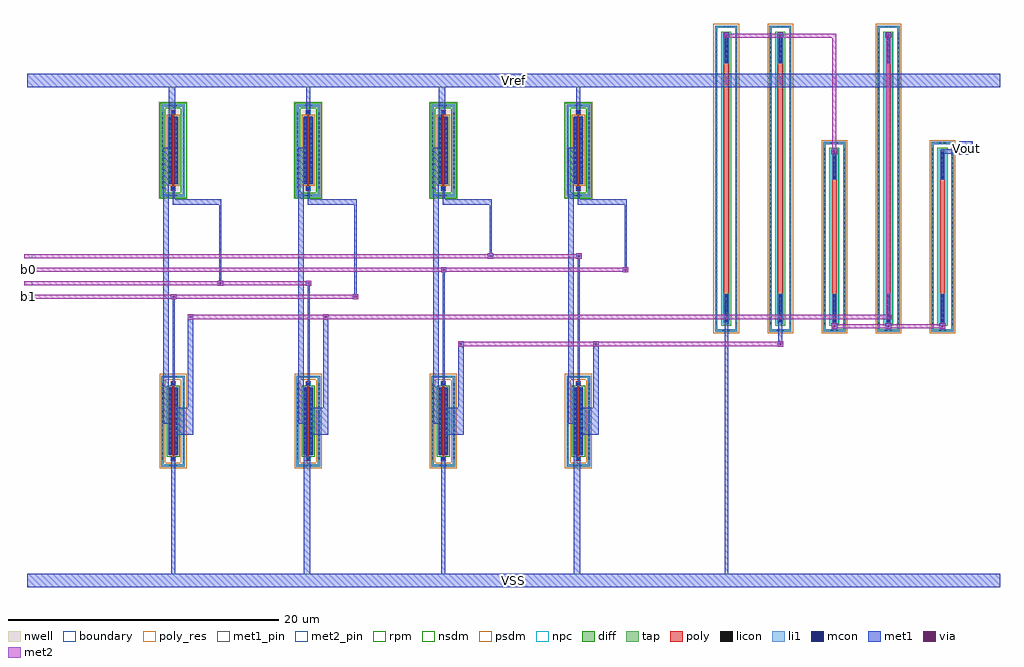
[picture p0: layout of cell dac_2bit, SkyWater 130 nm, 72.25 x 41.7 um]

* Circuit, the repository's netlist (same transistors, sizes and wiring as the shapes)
* NGSPICE file created from dac_2bit.ext - technology: sky130A

.subckt sky130_fd_pr__res_high_po_0p35_S5RWJ9 B R1 R2
X0 R1 R2 B sky130_fd_pr__res_high_po_0p35 l=17.2
.ends

.subckt sky130_fd_pr__pfet_01v8_N5VJYY B D S G
X0 S G D B sky130_fd_pr__pfet_01v8 ad=1.45 pd=10.58 as=1.45 ps=10.58 w=5 l=0.15
.ends

.subckt sky130_fd_pr__nfet_01v8_HYREKM B D S G
X0 S G D B sky130_fd_pr__nfet_01v8 ad=1.45 pd=10.58 as=1.45 ps=10.58 w=5 l=0.15
.ends

.subckt sky130_fd_pr__res_high_po_0p35_N4AVSQ B R1 R2
X0 R1 R2 B sky130_fd_pr__res_high_po_0p35 l=8.6
.ends

.subckt dac_2bit Vout b1
Xsky130_fd_pr__res_high_po_0p35_S5RWJ9_0 VSUBS sky130_fd_pr__res_high_po_0p35_S5RWJ9_1/R1
+ b1 sky130_fd_pr__res_high_po_0p35_S5RWJ9
Xsky130_fd_pr__res_high_po_0p35_S5RWJ9_1 VSUBS sky130_fd_pr__res_high_po_0p35_S5RWJ9_1/R1
+ sky130_fd_pr__nfet_01v8_HYREKM_3/S sky130_fd_pr__res_high_po_0p35_S5RWJ9
Xsky130_fd_pr__res_high_po_0p35_S5RWJ9_2 VSUBS sky130_fd_pr__nfet_01v8_HYREKM_1/S
+ sky130_fd_pr__res_high_po_0p35_S5RWJ9_2/R2 sky130_fd_pr__res_high_po_0p35_S5RWJ9
Xsky130_fd_pr__pfet_01v8_N5VJYY_0 sky130_fd_pr__pfet_01v8_N5VJYY_0/B b1 sky130_fd_pr__pfet_01v8_N5VJYY_0/S
+ b1 sky130_fd_pr__pfet_01v8_N5VJYY
Xsky130_fd_pr__pfet_01v8_N5VJYY_1 sky130_fd_pr__pfet_01v8_N5VJYY_1/B b1 sky130_fd_pr__pfet_01v8_N5VJYY_1/S
+ b1 sky130_fd_pr__pfet_01v8_N5VJYY
Xsky130_fd_pr__pfet_01v8_N5VJYY_2 sky130_fd_pr__pfet_01v8_N5VJYY_2/B b1 sky130_fd_pr__pfet_01v8_N5VJYY_2/S
+ b1 sky130_fd_pr__pfet_01v8_N5VJYY
Xsky130_fd_pr__pfet_01v8_N5VJYY_3 sky130_fd_pr__pfet_01v8_N5VJYY_3/B b1 sky130_fd_pr__pfet_01v8_N5VJYY_3/S
+ b1 sky130_fd_pr__pfet_01v8_N5VJYY
Xsky130_fd_pr__nfet_01v8_HYREKM_0 VSUBS b1 sky130_fd_pr__nfet_01v8_HYREKM_1/S b1 sky130_fd_pr__nfet_01v8_HYREKM
Xsky130_fd_pr__nfet_01v8_HYREKM_1 VSUBS b1 sky130_fd_pr__nfet_01v8_HYREKM_1/S b1 sky130_fd_pr__nfet_01v8_HYREKM
Xsky130_fd_pr__nfet_01v8_HYREKM_3 VSUBS b1 sky130_fd_pr__nfet_01v8_HYREKM_3/S b1 sky130_fd_pr__nfet_01v8_HYREKM
Xsky130_fd_pr__nfet_01v8_HYREKM_2 VSUBS b1 sky130_fd_pr__nfet_01v8_HYREKM_3/S b1 sky130_fd_pr__nfet_01v8_HYREKM
Xsky130_fd_pr__res_high_po_0p35_N4AVSQ_0 VSUBS sky130_fd_pr__res_high_po_0p35_S5RWJ9_1/R1
+ sky130_fd_pr__res_high_po_0p35_S5RWJ9_2/R2 sky130_fd_pr__res_high_po_0p35_N4AVSQ
Xsky130_fd_pr__res_high_po_0p35_N4AVSQ_1 VSUBS Vout sky130_fd_pr__res_high_po_0p35_S5RWJ9_2/R2
+ sky130_fd_pr__res_high_po_0p35_N4AVSQ
.ends

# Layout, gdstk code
import gdstk
lib = gdstk.Library(unit=1e-6, precision=1e-09)
def R(c, l, rs):  # rectangles x0, y0, x1, y1
    for r in rs: c.add(gdstk.rectangle(r[:2], r[2:], *l))
def A(c, l, x, y, w, h, nx, ny, dx, dy):  # array of equal rectangles
    R(c, l, [(x+i*dx, y+j*dy, x+i*dx+w, y+j*dy+h) for i in range(nx) for j in range(ny)])
nwell = (64, 20)
diff = (65, 20)
tap = (65, 44)
poly_res = (66, 13)
poly = (66, 20)
licon = (66, 44)
li1 = (67, 20)
mcon = (67, 44)
met1_pin = (68, 16)
met1 = (68, 20)
via = (68, 44)
met2_pin = (69, 16)
met2 = (69, 20)
rpm = (86, 20)
nsdm = (93, 44)
psdm = (94, 20)
npc = (95, 20)
boundary = (235, 4)

sky130_fd_pr__nfet_01v8_ = lib.new_cell('sky130_fd_pr__nfet_01v8_HYREKM')
R(sky130_fd_pr__nfet_01v8_, diff, [(-0.365,-2.5,0.365,2.5)])
R(sky130_fd_pr__nfet_01v8_, tap, [(-0.875,-3.37,0.875,-3.2), (-0.875,-3.2,-0.705,3.2), (0.705,-3.2,0.875,3.2), (-0.875,3.2,0.875,3.37)])
R(sky130_fd_pr__nfet_01v8_, poly, [(-0.165,-2.94,0.165,-2.61), (-0.075,-2.61,0.075,2.61), (-0.165,2.61,0.165,2.94)])
A(sky130_fd_pr__nfet_01v8_, licon, -0.875, -2.805, 0.17, 0.17, 1, 17, 0, 0.34)
A(sky130_fd_pr__nfet_01v8_, licon, 0.705, -2.805, 0.17, 0.17, 1, 17, 0, 0.34)
A(sky130_fd_pr__nfet_01v8_, licon, -0.305, -2.295, 0.17, 0.17, 1, 14, 0, 0.34)
A(sky130_fd_pr__nfet_01v8_, licon, 0.135, -2.295, 0.17, 0.17, 1, 14, 0, 0.34)
R(sky130_fd_pr__nfet_01v8_, licon, [(-0.255,-3.37,-0.085,-3.2), (0.085,-3.37,0.255,-3.2), (-0.085,-2.86,0.085,-2.69), (-0.085,2.69,0.085,2.86), (-0.255,3.2,-0.085,3.37), (0.085,3.2,0.255,3.37)])
R(sky130_fd_pr__nfet_01v8_, li1, [(-0.875,-3.37,0.875,-3.2), (-0.875,-3.2,-0.705,3.2), (0.705,-3.2,0.875,3.2), (-0.165,-2.86,0.165,-2.69), (-0.305,-2.52,-0.135,2.52), (0.135,-2.52,0.305,2.52), (-0.165,2.69,0.165,2.86), (-0.875,3.2,0.875,3.37)])
A(sky130_fd_pr__nfet_01v8_, mcon, -0.305, -2.425, 0.17, 0.17, 1, 14, 0, 0.36)
A(sky130_fd_pr__nfet_01v8_, mcon, 0.135, -2.425, 0.17, 0.17, 1, 14, 0, 0.36)
R(sky130_fd_pr__nfet_01v8_, mcon, [(-0.085,-2.86,0.085,-2.69), (-0.085,2.69,0.085,2.86)])
R(sky130_fd_pr__nfet_01v8_, met1, [(-0.145,-2.89,0.145,-2.66), (-0.335,-2.5,-0.105,2.5), (0.105,-2.5,0.335,2.5), (-0.145,2.66,0.145,2.89)])
R(sky130_fd_pr__nfet_01v8_, nsdm, [(-0.49,-2.625,0.49,2.625)])
R(sky130_fd_pr__nfet_01v8_, psdm, [(-1,-3.495,1,-3.075), (-1,-3.075,-0.58,3.075), (0.58,-3.075,1,3.075), (-1,3.075,1,3.495)])
R(sky130_fd_pr__nfet_01v8_, npc, [(-0.185,-2.96,0.185,-2.59), (-0.185,2.59,0.185,2.96)])
R(sky130_fd_pr__nfet_01v8_, boundary, [(-0.79,-3.285,0.79,3.285)])
sky130_fd_pr__nfet_01v8_.add(gdstk.Label('B', (0,-3.285), layer=67, texttype=5))
sky130_fd_pr__nfet_01v8_.add(gdstk.Label('D', (-0.22,0), layer=67, texttype=5))
sky130_fd_pr__nfet_01v8_.add(gdstk.Label('S', (0.22,0), layer=67, texttype=5))
sky130_fd_pr__nfet_01v8_.add(gdstk.Label('G', (0,2.775), layer=67, texttype=5))

sky130_fd_pr__pfet_01v8_ = lib.new_cell('sky130_fd_pr__pfet_01v8_N5VJYY')
R(sky130_fd_pr__pfet_01v8_, nwell, [(-1.055,-3.595,1.055,3.595)])
R(sky130_fd_pr__pfet_01v8_, diff, [(-0.365,-2.5,0.365,2.5)])
R(sky130_fd_pr__pfet_01v8_, tap, [(-0.875,-3.415,0.875,-3.245), (-0.875,-3.245,-0.705,3.245), (0.705,-3.245,0.875,3.245), (-0.875,3.245,0.875,3.415)])
R(sky130_fd_pr__pfet_01v8_, poly, [(-0.165,-2.985,0.165,-2.655), (-0.075,-2.655,0.075,2.655), (-0.165,2.655,0.165,2.985)])
A(sky130_fd_pr__pfet_01v8_, licon, -0.875, -2.805, 0.17, 0.17, 1, 17, 0, 0.34)
A(sky130_fd_pr__pfet_01v8_, licon, 0.705, -2.805, 0.17, 0.17, 1, 17, 0, 0.34)
A(sky130_fd_pr__pfet_01v8_, licon, -0.305, -2.295, 0.17, 0.17, 1, 14, 0, 0.34)
A(sky130_fd_pr__pfet_01v8_, licon, 0.135, -2.295, 0.17, 0.17, 1, 14, 0, 0.34)
R(sky130_fd_pr__pfet_01v8_, licon, [(-0.255,-3.415,-0.085,-3.245), (0.085,-3.415,0.255,-3.245), (-0.085,-2.905,0.085,-2.735), (-0.085,2.735,0.085,2.905), (-0.255,3.245,-0.085,3.415), (0.085,3.245,0.255,3.415)])
R(sky130_fd_pr__pfet_01v8_, li1, [(-0.875,-3.415,0.875,-3.245), (-0.875,-3.245,-0.705,3.245), (0.705,-3.245,0.875,3.245), (-0.165,-2.905,0.165,-2.735), (-0.305,-2.52,-0.135,2.52), (0.135,-2.52,0.305,2.52), (-0.165,2.735,0.165,2.905), (-0.875,3.245,0.875,3.415)])
A(sky130_fd_pr__pfet_01v8_, mcon, -0.305, -2.425, 0.17, 0.17, 1, 14, 0, 0.36)
A(sky130_fd_pr__pfet_01v8_, mcon, 0.135, -2.425, 0.17, 0.17, 1, 14, 0, 0.36)
R(sky130_fd_pr__pfet_01v8_, mcon, [(-0.085,-2.905,0.085,-2.735), (-0.085,2.735,0.085,2.905)])
R(sky130_fd_pr__pfet_01v8_, met1, [(-0.145,-2.935,0.145,-2.705), (-0.335,-2.5,-0.105,2.5), (0.105,-2.5,0.335,2.5), (-0.145,2.705,0.145,2.935)])
R(sky130_fd_pr__pfet_01v8_, nsdm, [(-1,-3.54,1,-3.12), (-1,-3.12,-0.58,3.12), (0.58,-3.12,1,3.12), (-1,3.12,1,3.54)])
R(sky130_fd_pr__pfet_01v8_, psdm, [(-0.49,-2.625,0.49,2.625)])
R(sky130_fd_pr__pfet_01v8_, npc, [(-0.185,-3.005,0.185,-2.635), (-0.185,2.635,0.185,3.005)])
R(sky130_fd_pr__pfet_01v8_, boundary, [(-0.79,-3.33,0.79,3.33)])
sky130_fd_pr__pfet_01v8_.add(gdstk.Label('B', (0,-3.33), layer=67, texttype=5))
sky130_fd_pr__pfet_01v8_.add(gdstk.Label('D', (-0.22,0), layer=67, texttype=5))
sky130_fd_pr__pfet_01v8_.add(gdstk.Label('S', (0.22,0), layer=67, texttype=5))
sky130_fd_pr__pfet_01v8_.add(gdstk.Label('G', (0,2.82), layer=67, texttype=5))

sky130_fd_pr__res_high_p = lib.new_cell('sky130_fd_pr__res_high_po_0p35_S5RWJ9')
R(sky130_fd_pr__res_high_p, tap, [(-0.825,-11.33,0.825,-11.16), (-0.825,-11.16,-0.655,11.16), (0.655,-11.16,0.825,11.16), (-0.825,11.16,0.825,11.33)])
R(sky130_fd_pr__res_high_p, poly_res, [(-0.175,-8.6,0.175,8.6)])
R(sky130_fd_pr__res_high_p, poly, [(-0.175,-10.68,0.175,10.68)])
A(sky130_fd_pr__res_high_p, licon, -0.825, -10.795, 0.17, 0.17, 1, 64, 0, 0.34)
A(sky130_fd_pr__res_high_p, licon, 0.655, -10.795, 0.17, 0.17, 1, 64, 0, 0.34)
R(sky130_fd_pr__res_high_p, licon, [(-0.255,-11.33,-0.085,-11.16), (0.085,-11.33,0.255,-11.16), (-0.095,-10.6,0.095,-8.6), (-0.095,8.6,0.095,10.6), (-0.255,11.16,-0.085,11.33), (0.085,11.16,0.255,11.33)])
R(sky130_fd_pr__res_high_p, li1, [(-0.825,-11.33,0.825,-11.16), (-0.825,-11.16,-0.655,11.16), (0.655,-11.16,0.825,11.16), (-0.175,-10.68,0.175,-8.52), (-0.175,8.52,0.175,10.68), (-0.825,11.16,0.825,11.33)])
A(sky130_fd_pr__res_high_p, mcon, -0.085, -10.585, 0.17, 0.17, 1, 6, 0, 0.36)
A(sky130_fd_pr__res_high_p, mcon, -0.085, 8.61, 0.17, 0.17, 1, 6, 0, 0.36)
R(sky130_fd_pr__res_high_p, met1, [(-0.125,-10.65,0.125,-8.545), (-0.125,8.545,0.125,10.65)])
R(sky130_fd_pr__res_high_p, rpm, [(-0.375,-10.88,0.375,10.88)])
R(sky130_fd_pr__res_high_p, psdm, [(-0.95,-11.455,0.95,11.455)])
R(sky130_fd_pr__res_high_p, npc, [(-0.27,-10.775,0.27,10.775)])
R(sky130_fd_pr__res_high_p, boundary, [(-0.74,-11.245,0.74,11.245)])
sky130_fd_pr__res_high_p.add(gdstk.Label('B', (0,-11.245), layer=67, texttype=5))
sky130_fd_pr__res_high_p.add(gdstk.Label('R1', (0,10.505), layer=67, texttype=5))
sky130_fd_pr__res_high_p.add(gdstk.Label('R2', (0,-10.505), layer=67, texttype=5))

c_sky130_fd_pr__res_high_p = lib.new_cell('sky130_fd_pr__res_high_po_0p35_N4AVSQ')
R(c_sky130_fd_pr__res_high_p, tap, [(-0.825,-7.03,0.825,-6.86), (-0.825,-6.86,-0.655,6.86), (0.655,-6.86,0.825,6.86), (-0.825,6.86,0.825,7.03)])
R(c_sky130_fd_pr__res_high_p, poly_res, [(-0.175,-4.3,0.175,4.3)])
R(c_sky130_fd_pr__res_high_p, poly, [(-0.175,-6.38,0.175,6.38)])
A(c_sky130_fd_pr__res_high_p, licon, -0.825, -6.545, 0.17, 0.17, 1, 39, 0, 0.34)
A(c_sky130_fd_pr__res_high_p, licon, 0.655, -6.545, 0.17, 0.17, 1, 39, 0, 0.34)
R(c_sky130_fd_pr__res_high_p, licon, [(-0.255,-7.03,-0.085,-6.86), (0.085,-7.03,0.255,-6.86), (-0.095,-6.3,0.095,-4.3), (-0.095,4.3,0.095,6.3), (-0.255,6.86,-0.085,7.03), (0.085,6.86,0.255,7.03)])
R(c_sky130_fd_pr__res_high_p, li1, [(-0.825,-7.03,0.825,-6.86), (-0.825,-6.86,-0.655,6.86), (0.655,-6.86,0.825,6.86), (-0.175,-6.38,0.175,-4.22), (-0.175,4.22,0.175,6.38), (-0.825,6.86,0.825,7.03)])
A(c_sky130_fd_pr__res_high_p, mcon, -0.085, -6.285, 0.17, 0.17, 1, 6, 0, 0.36)
A(c_sky130_fd_pr__res_high_p, mcon, -0.085, 4.31, 0.17, 0.17, 1, 6, 0, 0.36)
R(c_sky130_fd_pr__res_high_p, met1, [(-0.125,-6.35,0.125,-4.245), (-0.125,4.245,0.125,6.35)])
R(c_sky130_fd_pr__res_high_p, rpm, [(-0.375,-6.58,0.375,6.58)])
R(c_sky130_fd_pr__res_high_p, psdm, [(-0.95,-7.155,0.95,7.155)])
R(c_sky130_fd_pr__res_high_p, npc, [(-0.27,-6.475,0.27,6.475)])
R(c_sky130_fd_pr__res_high_p, boundary, [(-0.74,-6.945,0.74,6.945)])
c_sky130_fd_pr__res_high_p.add(gdstk.Label('B', (0,-6.945), layer=67, texttype=5))
c_sky130_fd_pr__res_high_p.add(gdstk.Label('R1', (0,6.205), layer=67, texttype=5))
c_sky130_fd_pr__res_high_p.add(gdstk.Label('R2', (0,-6.205), layer=67, texttype=5))

dac_2bit = lib.new_cell('dac_2bit')
R(dac_2bit, met1_pin, [(-6,0,66,1), (63,32,64,33), (-6,37,66,38)])
A(dac_2bit, met1, 4.895, 11.285, 1.395, 2, 4, 1, 10, 0)
A(dac_2bit, met1, 4.04, 12.085, 0.645, 2.7, 4, 2, 10, 17.745)
A(dac_2bit, met1, 4.04, 14.785, 0.415, 15.045, 4, 1, 10, 0)
A(dac_2bit, met1, 53.54, 19.125, 0.4, 0.4, 3, 1, 4, 0)
A(dac_2bit, met1, 53.585, 19.525, 0.31, 0.13, 3, 1, 4, 0)
A(dac_2bit, met1, 4.75, 28.3, 3.615, 0.4, 4, 1, 10, 0)
A(dac_2bit, met1, 4.75, 28.7, 0.15, 0.83, 4, 1, 10, 0)
R(dac_2bit, met1, [(-6,0,66,1), (4.645,1,4.935,9.625), (14.455,1,14.935,9.625), (24.645,1,24.935,9.625), (34.455,1,34.935,9.625), (45.615,1,45.865,19.655), (14.455,9.625,14.685,12.085), (34.455,9.625,34.685,12.085), (4.455,9.785,4.685,12.085), (24.455,9.785,24.685,12.085), (5.89,13.285,6.29,20.2), (15.89,13.285,16.29,20.2), (25.89,13.285,26.29,18.2), (35.89,13.285,36.29,18.2), (4.75,15.085,4.9,21.3), (14.75,15.085,14.9,22.3), (24.75,15.085,24.9,23.3), (34.75,15.085,34.9,24.3), (49.54,17.8,49.94,18.2), (49.585,18.2,49.895,19.655), (4.625,21.3,5.025,21.7), (18.09,21.3,18.49,21.7), (18.215,21.7,18.365,28.3), (8.09,22.3,8.49,22.7), (14.625,22.3,15.025,22.7), (8.215,22.7,8.365,28.3), (24.625,23.3,25.025,23.7), (38.09,23.3,38.49,23.7), (38.215,23.7,38.365,28.3), (28.09,24.3,28.49,24.7), (34.625,24.3,35.025,24.7), (28.215,24.7,28.365,28.3), (63,32,64,32.1), (53.54,32.065,53.94,32.465), (61.615,32.1,64,32.4), (63,32.4,64,33), (53.585,32.465,53.895,32.495), (4.455,32.53,4.685,35.265), (14.455,32.53,14.685,34.83), (24.455,32.53,24.685,35.265), (34.455,32.53,34.685,34.83), (4.455,35.265,4.935,37), (14.645,35.265,14.935,37), (24.455,35.265,24.935,37), (34.645,35.265,34.935,37), (-6,37,66,38), (45.54,40.665,45.94,41.065), (49.54,40.665,49.94,41.065), (57.54,40.665,57.94,41.065)])
A(dac_2bit, via, 53.665, 19.25, 0.15, 0.15, 3, 1, 4, 0)
R(dac_2bit, via, [(26.015,17.925,26.165,18.075), (36.015,17.925,36.165,18.075), (49.665,17.925,49.815,18.075), (6.015,19.925,6.165,20.075), (16.015,19.925,16.165,20.075), (4.75,21.425,4.9,21.575), (18.215,21.425,18.365,21.575), (8.215,22.425,8.365,22.575), (14.75,22.425,14.9,22.575), (24.75,23.425,24.9,23.575), (38.215,23.425,38.365,23.575), (28.215,24.425,28.365,24.575), (34.75,24.425,34.9,24.575), (53.665,32.19,53.815,32.34), (45.665,40.79,45.815,40.94), (49.665,40.79,49.815,40.94), (57.665,40.79,57.815,40.94)])
A(dac_2bit, met2_pin, -6.25, 21.35, 0.6, 0.3, 1, 4, 0, 1)
A(dac_2bit, met2, 53.54, 19.125, 0.4, 0.05, 3, 2, 4, 0.35)
R(dac_2bit, met2, [(25.89,17.8,26.29,17.84), (35.89,17.8,36.29,17.84), (49.54,17.8,49.94,17.84), (25.89,17.84,49.94,18.16), (25.89,18.16,26.29,18.2), (35.89,18.16,36.29,18.2), (49.54,18.16,49.94,18.2), (53.54,19.175,61.94,19.475), (5.89,19.8,6.29,19.84), (15.89,19.8,16.29,19.84), (5.89,19.84,57.94,20.16), (5.89,20.16,6.29,20.2), (15.89,20.16,16.29,20.2), (57.59,20.16,57.89,40.665), (4.625,21.3,5.025,21.35), (18.09,21.3,18.49,21.35), (-6.25,21.35,18.49,21.65), (4.625,21.65,5.025,21.7), (18.09,21.65,18.49,21.7), (8.09,22.3,8.49,22.35), (14.625,22.3,15.025,22.35), (-6.25,22.35,15.025,22.65), (8.09,22.65,8.49,22.7), (14.625,22.65,15.025,22.7), (24.625,23.3,25.025,23.35), (38.09,23.3,38.49,23.35), (-6.25,23.35,38.49,23.65), (24.625,23.65,25.025,23.7), (38.09,23.65,38.49,23.7), (28.09,24.3,28.49,24.35), (34.625,24.3,35.025,24.35), (-6.25,24.35,35.025,24.65), (28.09,24.65,28.49,24.7), (34.625,24.65,35.025,24.7), (53.54,32.065,53.94,32.465), (53.59,32.465,53.89,40.685), (45.54,40.665,45.94,40.685), (49.54,40.665,49.94,40.685), (57.54,40.665,57.94,41.065), (45.54,40.685,53.89,40.985), (45.54,40.985,45.94,41.065), (49.54,40.985,49.94,41.065)])
dac_2bit.add(gdstk.Reference(sky130_fd_pr__nfet_01v8_, (4.79,12.285)))
dac_2bit.add(gdstk.Reference(sky130_fd_pr__pfet_01v8_, (4.79,32.33), x_reflection=True))
dac_2bit.add(gdstk.Reference(sky130_fd_pr__nfet_01v8_, (14.79,12.285)))
dac_2bit.add(gdstk.Reference(sky130_fd_pr__pfet_01v8_, (14.79,32.33), x_reflection=True))
dac_2bit.add(gdstk.Reference(sky130_fd_pr__nfet_01v8_, (24.79,12.285)))
dac_2bit.add(gdstk.Reference(sky130_fd_pr__pfet_01v8_, (24.79,32.33), x_reflection=True))
dac_2bit.add(gdstk.Reference(sky130_fd_pr__nfet_01v8_, (34.79,12.285)))
dac_2bit.add(gdstk.Reference(sky130_fd_pr__pfet_01v8_, (34.79,32.33), x_reflection=True))
dac_2bit.add(gdstk.Reference(sky130_fd_pr__res_high_p, (45.74,30.245)))
dac_2bit.add(gdstk.Reference(sky130_fd_pr__res_high_p, (49.74,30.245)))
dac_2bit.add(gdstk.Reference(c_sky130_fd_pr__res_high_p, (53.74,25.945)))
dac_2bit.add(gdstk.Reference(sky130_fd_pr__res_high_p, (57.74,30.245)))
dac_2bit.add(gdstk.Reference(c_sky130_fd_pr__res_high_p, (61.74,25.945)))
dac_2bit.add(gdstk.Label('Vref', (30,37.5), layer=68, texttype=5))
dac_2bit.add(gdstk.Label('VSS', (30,0.5), layer=68, texttype=5))
dac_2bit.add(gdstk.Label('Vout', (63.5,32.5), layer=68, texttype=5))
dac_2bit.add(gdstk.Label('b1', (-5.95,21.5), layer=69, texttype=5))
dac_2bit.add(gdstk.Label('b1_bar', (-5.95,22.5), layer=69, texttype=5))
dac_2bit.add(gdstk.Label('b0', (-5.95,23.5), layer=69, texttype=5))
dac_2bit.add(gdstk.Label('b0_bar', (-5.95,24.5), layer=69, texttype=5))

lib.write_gds('dac_2bit.gds')
